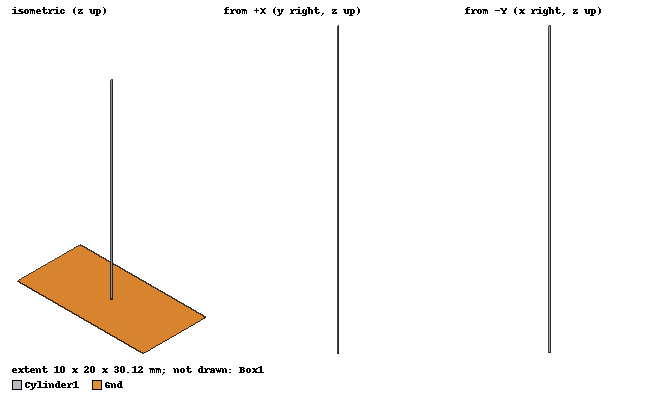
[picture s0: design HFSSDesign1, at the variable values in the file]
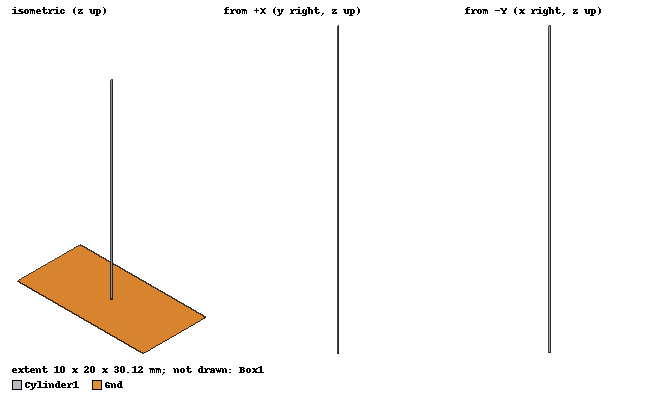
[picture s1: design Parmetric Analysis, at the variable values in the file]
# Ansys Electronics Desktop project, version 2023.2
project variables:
  $dl = 30mm
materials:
  vacuum: permittivity=1
  pec: conductivity=1e+30

design HFSSDesign1 (HFSS, HFSS Modal Network, model units mm)
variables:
  dl = 30mm
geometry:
  Cylinder1 [pec] = cylinder(axis=Z, base_centre=(0mm, 0mm, 0.125mm), radius=0.0625mm, height=dl)
  Gnd = rectangle(corner=(-5mm, -10mm, 0mm), x_size=10mm, y_size=20mm)
  Port = rectangle(corner=(0mm, -0.0625mm, 0.125mm), y_size=0.1275mm, z_size=-0.125mm)
  Box1 [vacuum] = box(corner=(-10mm, -20mm, 36mm), size=(20mm, 42mm, -48mm))
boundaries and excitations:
  PerfE1: Perfect E Objects=Gnd
  Rad1: Radiation Objects=Box1
  1: Lumped Port Objects=Port LumpedPortType=Modal Modes{Mode1{IntLine{(0, 0.00125, 0.125) -> (0, 0.00125, 0)} CharImp=Zpi RenormImp=50ohm}} Impedance=50ohm
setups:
  Setup1: HfssDriven Frequency=2.5GHz MaxDeltaS=0.02 MaximumPasses=8 MinimumPasses=1 MinimumConvergedPasses=1 PercentRefinement=30 BasisOrder=1 PortAccuracy=2 DrivenSolverType="Direct Solver"
    sweep Sweep: 2GHz to 3GHz, 401 points; Type=Fast SaveFields
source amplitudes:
  1:1: 1V 0deg
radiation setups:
  Infinite Sphere1: Infinite Sphere Theta=0deg..360deg step 2deg Phi=-180deg..180deg step 2deg
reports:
  S Parameter Plot 1: dB(S(1,1)) vs Freq on Setup1 : Sweep
  Gain Plot 1: dB(GainTotal) vs Theta on Setup1 : LastAdaptive, Infinite Sphere1 [Phi=all Freq=2.5GHz]
  Gain Plot 2: dB(GainTotal) vs Phi, Theta on Setup1 : LastAdaptive, Infinite Sphere1 [Freq=2.5GHz]

design Parmetric Analysis (HFSS, HFSS Modal Network, model units mm)
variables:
  dl = 30mm
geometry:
  Cylinder1 [pec] = cylinder(axis=Z, base_centre=(0mm, 0mm, 0.125mm), radius=0.0625mm, height=$dl)
  Gnd = rectangle(corner=(-5mm, -10mm, 0mm), x_size=10mm, y_size=20mm)
  Port = rectangle(corner=(0mm, -0.0625mm, 0.125mm), y_size=0.1275mm, z_size=-0.125mm)
  Box1 [vacuum] = box(corner=(-10mm, -20mm, 36mm), size=(20mm, 42mm, -48mm))
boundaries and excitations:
  PerfE1: Perfect E Objects=Gnd
  Rad1: Radiation Objects=Box1
  1: Lumped Port Objects=Port LumpedPortType=Modal Modes{Mode1{IntLine{(0, 0.00125, 0.125) -> (0, 0.00125, 0)} CharImp=Zpi RenormImp=50ohm}} Impedance=50ohm
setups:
  Setup1: HfssDriven Frequency=2.5GHz MaxDeltaS=0.02 MaximumPasses=8 MinimumPasses=1 MinimumConvergedPasses=1 PercentRefinement=30 BasisOrder=1 PortAccuracy=2 DrivenSolverType="Direct Solver"
    sweep Sweep: 2GHz to 3GHz, 401 points; Type=Fast SaveFields
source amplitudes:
  1:1: 1V 0deg
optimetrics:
  ParametricSetup1: Parametric Sim._Setups=[Setup1]
    sweep $dl: LIN 29.6mm 30.6mm 0.2mm
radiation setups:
  Infinite Sphere1: Infinite Sphere Theta=0deg..360deg step 2deg Phi=-180deg..180deg step 2deg
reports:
  S Parameter Plot 2: dB(S(1,1)) vs Freq on Setup1 : Sweep [$dl=all]
